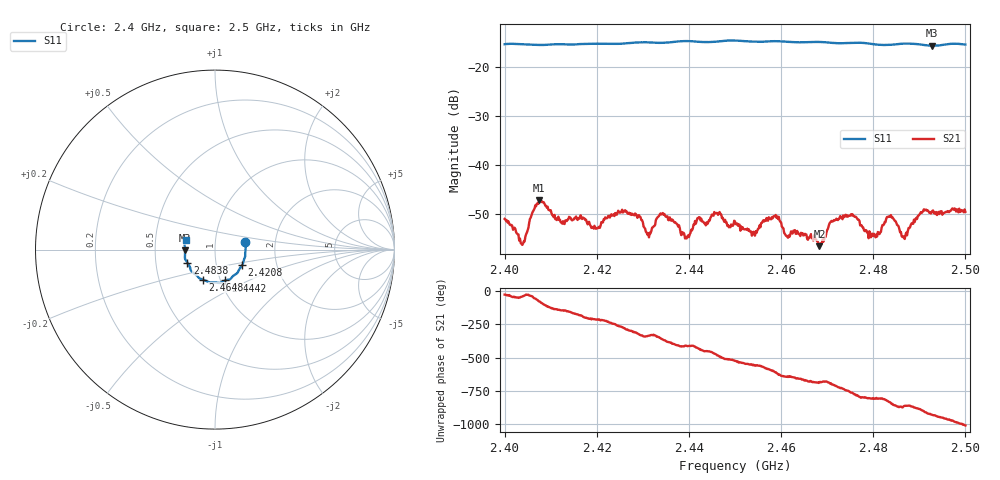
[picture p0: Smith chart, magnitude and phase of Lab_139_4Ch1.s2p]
# Hz S RI R 50
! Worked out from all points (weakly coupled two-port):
!   601 points, 2.4 GHz to 2.5 GHz, reference 50 ohm
!   highest |S21| = -47.28 dB at 2.4075 GHz (marker M1); lowest = -56.7 dB at 2.4683 GHz (marker M2)
!   lowest |S11| = -15.6 dB at 2.4928 GHz (marker M3), VSWR 1.40, Z = 35.7 - j0.367 ohm
!   |S11| at or under -10 dB: start of sweep to end of sweep
!   S12 and S22 are empty: the file has one direction only
!   S11 on the Smith chart (normalised r, x): 2.4 GHz: 1.40, +0.12; 2.4208 GHz: 1.33, -0.24; 2.4442 GHz: 1.05, -0.37; 2.4648 GHz: 0.83, -0.29; 2.4838 GHz: 0.73, -0.11; 2.5 GHz: 0.72, +0.08
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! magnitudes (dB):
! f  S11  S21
! 2.4 GHz  -15.3  -51.1
! 2.404 GHz  -15.3  -56.1
! 2.4075 GHz  -15.4  -47.3
! 2.4167 GHz  -15.2  -50.8
! 2.4208 GHz  -15.2  -52.5
! 2.426 GHz  -15.1  -49.5
! 2.4313 GHz  -14.9  -54.8
! 2.4333 GHz  -15.0  -50.6
! 2.4395 GHz  -14.6  -55.1
! 2.4442 GHz  -14.9  -51.8
! 2.45 GHz  -14.5  -51.6
! 2.459 GHz  -14.7  -50.8
! 2.4648 GHz  -14.9  -54.5
! 2.4667 GHz  -14.8  -55.0
! 2.4683 GHz  -14.8  -56.7
! 2.4733 GHz  -15.1  -51.1
! 2.4803 GHz  -15.3  -54.3
! 2.4833 GHz  -15.4  -50.6
! 2.4838 GHz  -15.4  -50.3
! 2.4867 GHz  -15.2  -54.7
! 2.4928 GHz  -15.6  -49.4
! 2.5 GHz  -15.3  -49.6
